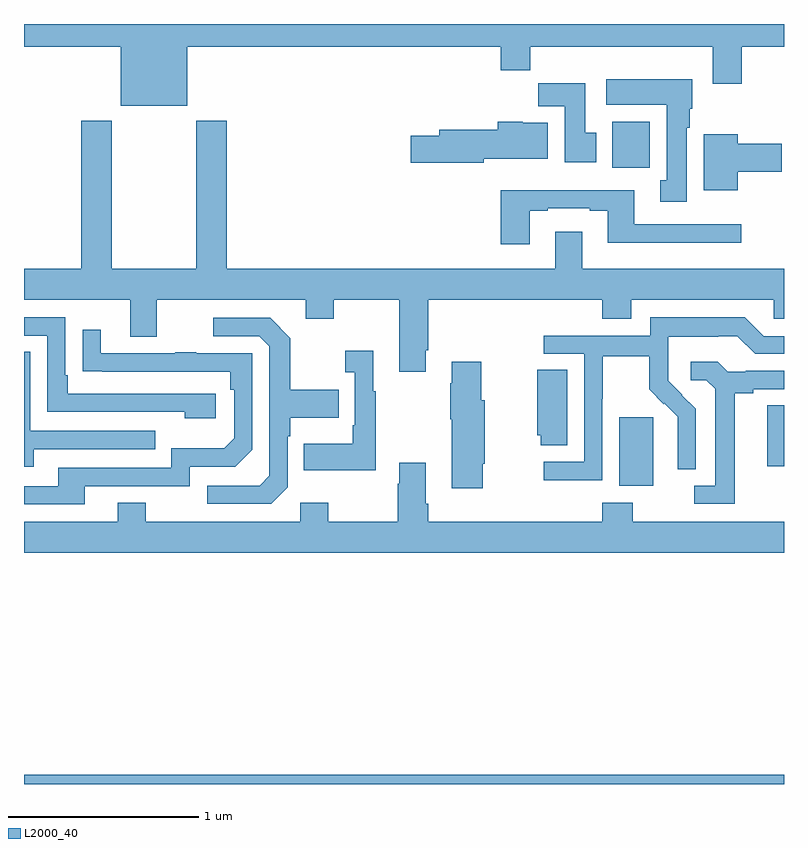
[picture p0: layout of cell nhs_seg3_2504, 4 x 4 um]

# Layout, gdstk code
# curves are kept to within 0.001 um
import gdstk
lib = gdstk.Library(unit=1e-6, precision=1e-09)
def R(c, l, rs):  # rectangles x0, y0, x1, y1
    for r in rs: c.add(gdstk.rectangle(r[:2], r[2:], *l))
def P(c, l, *ps):  # polygons
    for p in ps: c.add(gdstk.Polygon(p, *l))
L2000_40 = (2000, 40)

nhs_seg3_2504 = lib.new_cell('nhs_seg3_2504')
R(nhs_seg3_2504, L2000_40, [(241,666.4,245,666.448), (244.133,667.97,244.312,668.331), (244.913,668.073,245,668.393), (244.097,669.644,244.294,669.886)])
P(nhs_seg3_2504, L2000_40, [(241.858,670.28),(243.509,670.28),(243.509,670.156),(243.665,670.156),(243.665,670.28),(244.625,670.28),(244.625,670.086),(244.778,670.086),(244.778,670.28),(245,670.28),(245,670.4),(241,670.4),(241,670.28),(241.508,670.28),(241.508,669.971),(241.858,669.971)],
  [(244.489,669.854),(244.504,669.854),(244.504,669.954),(244.516,669.954),(244.516,670.108),(244.065,670.108),(244.065,669.974),(244.382,669.974),(244.382,669.578),(244.349,669.578),(244.349,669.465),(244.489,669.465)],
  [(244.012,669.828),(243.955,669.828),(243.955,670.087),(243.706,670.087),(243.706,669.968),(243.845,669.968),(243.845,669.672),(244.012,669.672)],
  [(243.115,668.683),(243.128,668.683),(243.128,668.948),(244.043,668.948),(244.043,668.849),(244.195,668.849),(244.195,668.948),(244.947,668.948),(244.947,668.85),(245,668.85),(245,669.112),(243.937,669.112),(243.937,669.307),(243.797,669.307),(243.797,669.112),(242.066,669.112),(242.066,669.892),(241.906,669.892),(241.906,669.112),(241.461,669.112),(241.461,669.892),(241.301,669.892),(241.301,669.112),(241,669.112),(241,668.948),(241.559,668.948),(241.559,668.754),(241.699,668.754),(241.699,668.948),(242.483,668.948),(242.483,668.849),(242.631,668.849),(242.631,668.948),(242.975,668.948),(242.975,668.571),(243.115,668.571)],
  [(243.42,669.692),(243.757,669.692),(243.757,669.88),(243.624,669.88),(243.624,669.886),(243.494,669.886),(243.494,669.843),(243.185,669.843),(243.185,669.813),(243.036,669.813),(243.036,669.671),(243.42,669.671)],
  [(244.756,669.623),(244.987,669.623),(244.987,669.77),(244.756,669.77),(244.756,669.82),(244.577,669.82),(244.577,669.524),(244.756,669.524)],
  [(243.661,669.417),(243.757,669.417),(243.757,669.429),(243.977,669.429),(243.977,669.417),(244.073,669.417),(244.073,669.248),(244.774,669.248),(244.774,669.345),(244.213,669.345),(244.213,669.526),(243.509,669.526),(243.509,669.24),(243.661,669.24)],
  [(244.044,668.428),(244.047,668.428),(244.047,668.652),(244.291,668.652),(244.291,668.477),(244.368,668.4),(244.371,668.403),(244.442,668.333),(244.442,668.21),(244.44,668.21),(244.44,668.056),(244.536,668.056),(244.536,668.374),(244.39,668.522),(244.39,668.619),(244.392,668.619),(244.392,668.753),(244.655,668.753),(244.655,668.757),(244.755,668.757),(244.848,668.664),(245,668.664),(245,668.757),(244.893,668.757),(244.793,668.857),(244.296,668.857),(244.296,668.76),(243.735,668.76),(243.735,668.664),(243.948,668.664),(243.948,668.097),(243.735,668.097),(243.735,667.999),(244.044,667.999)],
  [(242.008,668.454),(241.231,668.454),(241.231,668.551),(241.218,668.551),(241.218,668.856),(241,668.856),(241,668.76),(241.122,668.76),(241.122,668.358),(241.847,668.358),(241.847,668.324),(242.008,668.324)],
  [(242.388,667.962),(242.388,668.231),(242.401,668.231),(242.401,668.327),(242.657,668.327),(242.657,668.475),(242.401,668.475),(242.401,668.747),(242.295,668.853),(241.995,668.853),(241.995,668.757),(242.238,668.757),(242.292,668.703),(242.292,668.022),(242.241,667.971),(241.965,667.971),(241.965,667.875),(242.301,667.875)],
  [(241.321,667.968),(241.872,667.968),(241.872,668.07),(242.112,668.07),(242.202,668.16),(242.202,668.667),(241.907,668.667),(241.907,668.672),(241.795,668.672),(241.795,668.667),(241.405,668.667),(241.405,668.791),(241.309,668.791),(241.309,668.572),(242.086,668.571),(242.086,668.474),(242.106,668.474),(242.106,668.22),(242.053,668.167),(241.776,668.167),(241.776,668.064),(241.181,668.064),(241.181,667.968),(241,667.968),(241,667.872),(241.321,667.872)],
  [(242.851,668.467),(242.839,668.467),(242.839,668.68),(242.691,668.68),(242.691,668.567),(242.742,668.567),(242.742,668.287),(242.73,668.287),(242.73,668.191),(242.473,668.191),(242.473,668.051),(242.851,668.051)],
  [(241.051,668.163),(241.691,668.163),(241.691,668.259),(241.032,668.259),(241.032,668.675),(241,668.675),(241,668.069),(241.051,668.069)],
  [(243.414,668.085),(243.424,668.085),(243.424,668.421),(243.406,668.421),(243.406,668.623),(243.251,668.623),(243.251,668.51),(243.244,668.51),(243.244,668.321),(243.251,668.321),(243.251,667.956),(243.414,667.956)],
  [(244.741,668.456),(244.837,668.456),(244.837,668.478),(245,668.478),(245,668.574),(244.798,668.574),(244.798,668.571),(244.704,668.571),(244.652,668.623),(244.509,668.623),(244.509,668.526),(244.59,668.526),(244.637,668.479),(244.637,667.971),(244.527,667.971),(244.527,667.875),(244.741,667.875)],
  [(243.859,668.579),(243.701,668.579),(243.701,668.235),(243.721,668.235),(243.721,668.182),(243.859,668.182)],
  [(241.493,667.879),(241.493,667.78),(241,667.78),(241,667.616),(245,667.616),(245,667.78),(244.203,667.78),(244.203,667.879),(244.043,667.879),(244.043,667.78),(243.128,667.78),(243.128,667.876),(243.115,667.876),(243.115,668.092),(242.975,668.092),(242.975,667.979),(242.968,667.979),(242.968,667.78),(242.601,667.78),(242.601,667.879),(242.454,667.879),(242.454,667.78),(241.641,667.78),(241.641,667.879)])

lib.write_gds('nhs_seg3_2504.gds')
